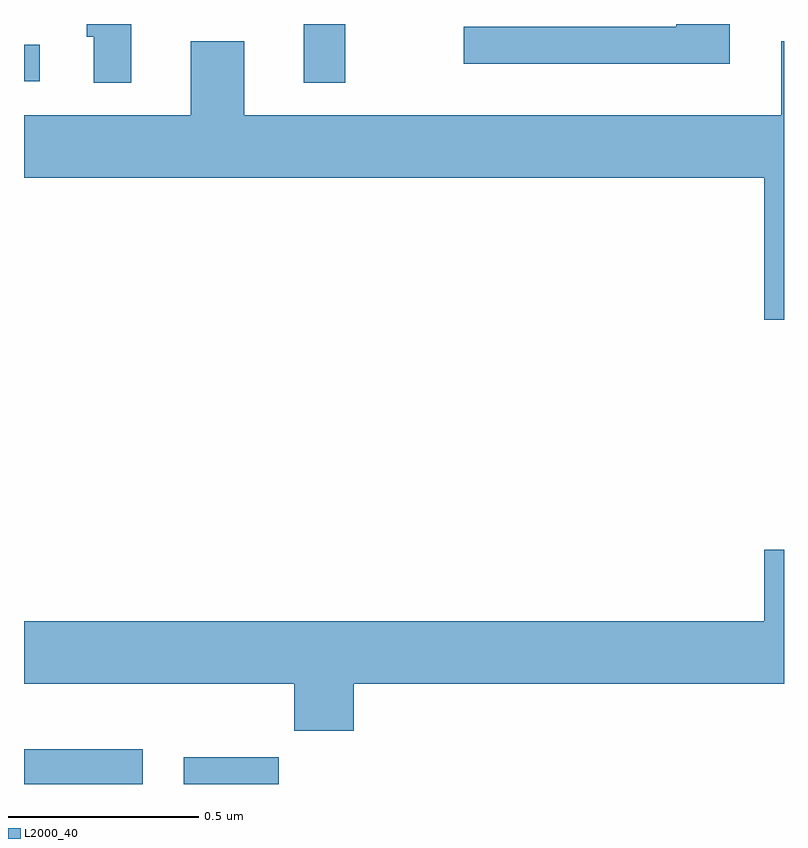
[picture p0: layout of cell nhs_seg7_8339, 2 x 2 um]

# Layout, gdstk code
import gdstk
lib = gdstk.Library(unit=1e-6, precision=1e-09)
def R(c, l, rs):  # rectangles x0, y0, x1, y1
    for r in rs: c.add(gdstk.rectangle(r[:2], r[2:], *l))
def P(c, l, *ps):  # polygons
    for p in ps: c.add(gdstk.Polygon(p, *l))
L2000_40 = (2000, 40)

nhs_seg7_8339 = lib.new_cell('nhs_seg7_8339')
R(nhs_seg7_8339, L2000_40, [(223,1019,223.312,1019.092), (223.421,1019,223.67,1019.071), (223.736,1020.845,223.846,1021), (223,1020.849,223.042,1020.946)])
P(nhs_seg7_8339, L2000_40, [(224.857,1021),(224.717,1021),(224.717,1020.993),(224.157,1020.993),(224.157,1020.896),(224.857,1020.896)],
  [(223.282,1021),(223.165,1021),(223.165,1020.966),(223.184,1020.966),(223.184,1020.845),(223.282,1020.845)],
  [(225,1020.955),(224.993,1020.955),(224.993,1020.76),(223.579,1020.76),(223.579,1020.955),(223.439,1020.955),(223.439,1020.76),(223,1020.76),(223,1020.596),(224.948,1020.596),(224.948,1020.222),(225,1020.222)],
  [(223.868,1019.264),(225,1019.264),(225,1019.617),(224.948,1019.617),(224.948,1019.428),(223,1019.428),(223,1019.264),(223.711,1019.264),(223.711,1019.14),(223.868,1019.14)])

lib.write_gds('nhs_seg7_8339.gds')
